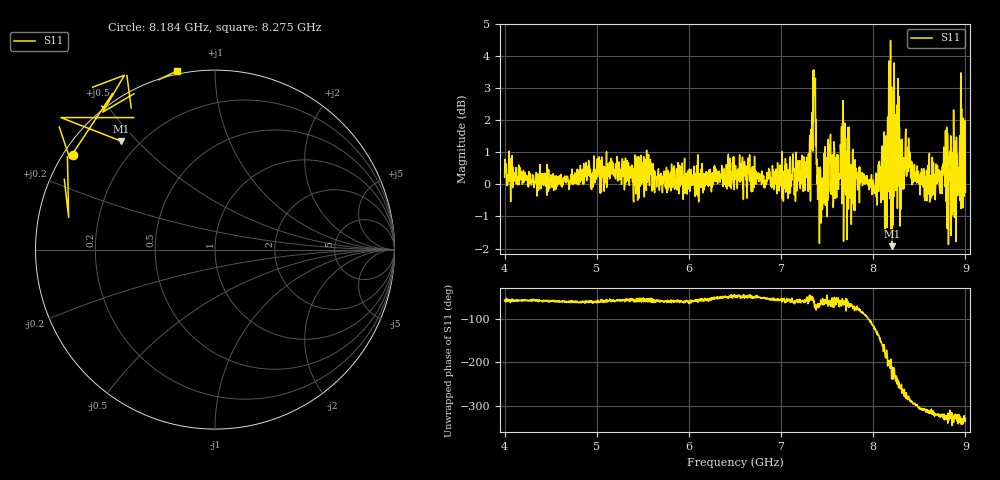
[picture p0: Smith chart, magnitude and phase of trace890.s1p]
! Created with skrf 1.8.0 (http://scikit-rf.org).
# Hz S RI R 50.0
!freq ReS11 ImS11
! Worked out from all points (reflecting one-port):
!   1601 points, 4 GHz to 9 GHz, reference 50 ohm
!   lowest |S11| = -1.9 dB at 8.206 GHz (marker M1), VSWR 9.06, Z = 6.66 + j22.5 ohm
!   phase of S11 starts at -57 deg and turns -271 deg over the sweep
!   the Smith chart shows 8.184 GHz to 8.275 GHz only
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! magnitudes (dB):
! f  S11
! 4 GHz  0.2
! 4.625 GHz  -0.1
! 5.25 GHz  0.1
! 5.875 GHz  0.1
! 6.5 GHz  0.2
! 7.125 GHz  0.8
! 7.281 GHz  0.3
! 7.319 GHz  -0.5
! 7.353 GHz  2.4
! 7.372 GHz  3.3
! 7.4 GHz  -0.2
! 7.431 GHz  0.0
! 7.512 GHz  1.4
! 7.609 GHz  0.8
! 7.65 GHz  1.1
! 7.75 GHz  0.4
! 8.028 GHz  0.1
! 8.125 GHz  -1.5
! 8.178 GHz  3.5
! 8.206 GHz  -1.9
! 8.253 GHz  1.1
! 8.312 GHz  1.4
! 8.375 GHz  0.6
! 8.638 GHz  -0.3
! 8.775 GHz  0.9
! 8.841 GHz  1.5
! 8.972 GHz  0.8
! 9 GHz  -0.2
